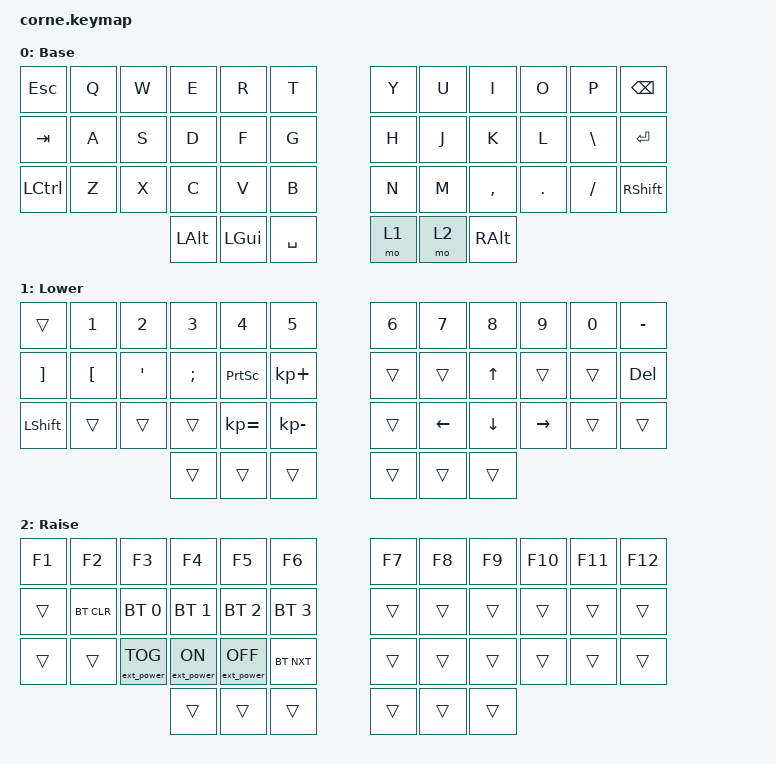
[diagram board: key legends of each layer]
/*
 * Copyright (c) 2020 The ZMK Contributors
 *
 * SPDX-License-Identifier: MIT
 */

#include <behaviors.dtsi>
#include <dt-bindings/zmk/bt.h>
#include <dt-bindings/zmk/ext_power.h>
#include <dt-bindings/zmk/keys.h>

/ {
    keymap {
        compatible = "zmk,keymap";

        default_layer {
            // -----------------------------------------------------------------------------------------
            // |  TAB |  Q  |  W  |  E  |  R  |  T  |   |  Y  |  U   |  I  |  O  |  P  | BKSP |
            // | CTRL |  A  |  S  |  D  |  F  |  G  |   |  H  |  J   |  K  |  L  |  ;  |  '   |
            // | SHFT |  Z  |  X  |  C  |  V  |  B  |   |  N  |  M   |  ,  |  .  |  /  | ESC  |
            //                    | GUI | LWR | SPC |   | ENT | RSE  | ALT |

            display-name = "Base";
            bindings = <
&kp ESCAPE  &kp Q  &kp W  &kp E         &kp R         &kp T        &kp Y  &kp U  &kp I      &kp O    &kp P          &kp BSPC
&kp TAB     &kp A  &kp S  &kp D         &kp F         &kp G        &kp H  &kp J  &kp K      &kp L    &kp BACKSLASH  &kp RETURN
&kp LCTRL   &kp Z  &kp X  &kp C         &kp V         &kp B        &kp N  &kp M  &kp COMMA  &kp DOT  &kp FSLH       &kp RIGHT_SHIFT
                          &kp LEFT_ALT  &kp LEFT_GUI  &kp SPACE    &mo 1  &mo 2  &kp RALT
            >;
        };

        lower_layer {
            // -----------------------------------------------------------------------------------------
            // |  TAB |  1  |  2  |  3  |  4  |  5  |   |  6  |  7  |  8  |  9  |  0  | BKSP |
            // | BTCLR| BT1 | BT2 | BT3 | BT4 | BT5 |   | LFT | DWN |  UP | RGT |     |      |
            // | SHFT |     |     |     |     |     |   |     |     |     |     |     |      |
            //                    | GUI |     | SPC |   | ENT |     | ALT |

            display-name = "Lower";
            bindings = <
&trans             &kp N1            &kp N2          &kp N3    &kp N4           &kp N5          &kp N6  &kp N7    &kp N8    &kp N9     &kp N0  &kp MINUS
&kp RIGHT_BRACKET  &kp LEFT_BRACKET  &kp APOSTROPHE  &kp SEMI  &kp PRINTSCREEN  &kp KP_PLUS     &trans  &trans    &kp UP    &trans     &trans  &kp DEL
&kp LSHFT          &trans            &trans          &trans    &kp KP_EQUAL     &kp KP_MINUS    &trans  &kp LEFT  &kp DOWN  &kp RIGHT  &trans  &trans
                                                     &trans    &trans           &trans          &trans  &trans    &trans
            >;
        };

        raise_layer {
            // -----------------------------------------------------------------------------------------
            // |  TAB |  !  |  @  |  #  |  $  |  %  |   |  ^  |  &  |  *  |  (  |  )  | BKSP |
            // | CTRL |     |     |     |     |     |   |  -  |  =  |  [  |  ]  |  \  |  `   |
            // | SHFT |     |     |     |     |     |   |  _  |  +  |  {  |  }  | "|" |  ~   |
            //                    | GUI |     | SPC |   | ENT |     | ALT |

            display-name = "Raise";
            bindings = <
&kp F1  &kp F2      &kp F3             &kp F4            &kp F5             &kp F6          &kp F7  &kp F8  &kp F9  &kp F10  &kp F11  &kp F12
&trans  &bt BT_CLR  &bt BT_SEL 0       &bt BT_SEL 1      &bt BT_SEL 2       &bt BT_SEL 3    &trans  &trans  &trans  &trans   &trans   &trans
&trans  &trans      &ext_power EP_TOG  &ext_power EP_ON  &ext_power EP_OFF  &bt BT_NXT      &trans  &trans  &trans  &trans   &trans   &trans
                                       &trans            &trans             &trans          &trans  &trans  &trans
            >;
        };

        extra_1 { status = "reserved"; };

        extra_2 { status = "reserved"; };

        extra_3 { status = "reserved"; };
    };
};
